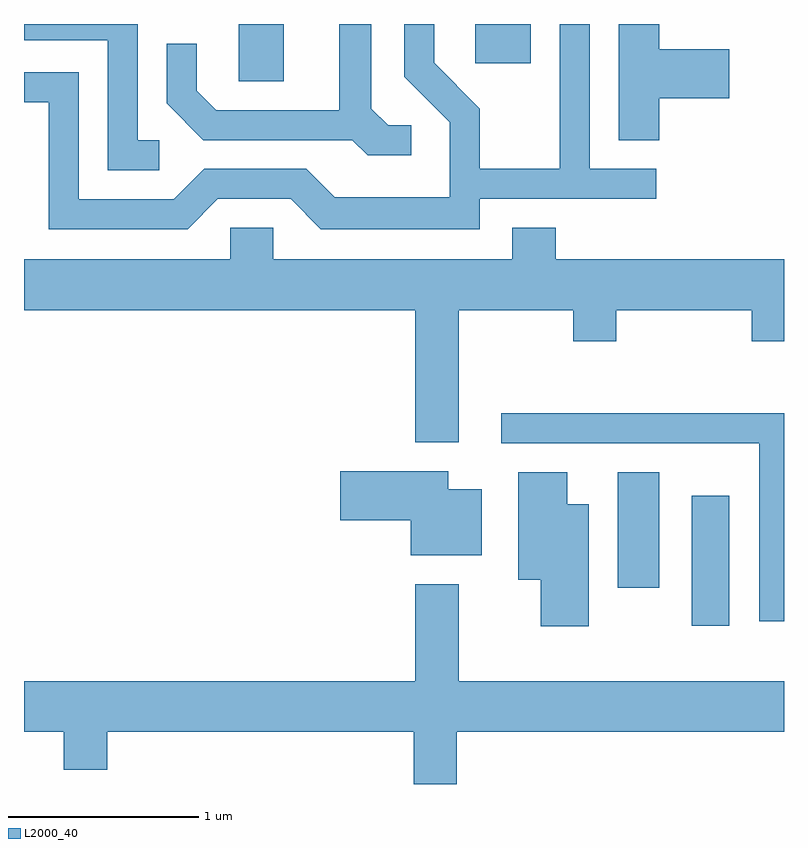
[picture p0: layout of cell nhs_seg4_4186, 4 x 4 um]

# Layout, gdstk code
import gdstk
lib = gdstk.Library(unit=1e-6, precision=1e-09)
def R(c, l, rs):  # rectangles x0, y0, x1, y1
    for r in rs: c.add(gdstk.rectangle(r[:2], r[2:], *l))
def P(c, l, *ps):  # polygons
    for p in ps: c.add(gdstk.Polygon(p, *l))
L2000_40 = (2000, 40)

nhs_seg4_4186 = lib.new_cell('nhs_seg4_4186')
R(nhs_seg4_4186, L2000_40, [(311.126,1330.816,311.324,1331.499), (310.736,1331.016,310.954,1331.624), (308.741,1333.681,308.979,1333.982), (309.986,1333.776,310.279,1333.982)])
P(nhs_seg4_4186, L2000_40, [(308.632,1333.061),(309.014,1333.061),(309.174,1332.901),(310.009,1332.901),(310.009,1333.061),(310.938,1333.061),(310.938,1333.219),(310.589,1333.219),(310.589,1333.982),(310.431,1333.982),(310.431,1333.219),(310.009,1333.219),(310.009,1333.537),(309.769,1333.777),(309.769,1333.982),(309.611,1333.982),(309.611,1333.704),(309.851,1333.464),(309.851,1333.069),(309.247,1333.069),(309.097,1333.219),(308.559,1333.219),(308.399,1333.059),(307.899,1333.059),(307.899,1333.729),(307.611,1333.729),(307.611,1333.571),(307.741,1333.571),(307.741,1332.901),(308.472,1332.901)],
  [(308.323,1333.369),(308.209,1333.369),(308.209,1333.982),(307.611,1333.982),(307.611,1333.896),(308.051,1333.896),(308.051,1333.211),(308.323,1333.211)],
  [(310.954,1333.591),(311.324,1333.591),(311.324,1333.849),(310.954,1333.849),(310.954,1333.982),(310.741,1333.982),(310.741,1333.371),(310.954,1333.371)],
  [(309.648,1333.449),(309.527,1333.449),(309.439,1333.537),(309.439,1333.982),(309.271,1333.982),(309.271,1333.529),(308.622,1333.529),(308.519,1333.632),(308.519,1333.878),(308.361,1333.878),(308.361,1333.564),(308.554,1333.371),(309.339,1333.371),(309.419,1333.291),(309.648,1333.291)],
  [(309.899,1332.476),(310.501,1332.476),(310.501,1332.311),(310.729,1332.311),(310.729,1332.476),(311.441,1332.476),(311.441,1332.311),(311.611,1332.311),(311.611,1332.744),(310.409,1332.744),(310.409,1332.909),(310.181,1332.909),(310.181,1332.744),(308.924,1332.744),(308.924,1332.909),(308.696,1332.909),(308.696,1332.744),(307.611,1332.744),(307.611,1332.476),(309.671,1332.476),(309.671,1331.781),(309.899,1331.781)],
  [(311.611,1331.934),(310.123,1331.934),(310.123,1331.776),(311.481,1331.776),(311.481,1330.838),(311.611,1330.838)],
  [(310.019,1331.534),(309.844,1331.534),(309.844,1331.629),(309.276,1331.629),(309.276,1331.371),(309.646,1331.371),(309.646,1331.186),(310.019,1331.186)],
  [(310.584,1331.454),(310.469,1331.454),(310.469,1331.624),(310.211,1331.624),(310.211,1331.056),(310.331,1331.056),(310.331,1330.811),(310.584,1330.811)],
  [(309.889,1330.256),(311.611,1330.256),(311.611,1330.524),(309.899,1330.524),(309.899,1331.034),(309.671,1331.034),(309.671,1330.524),(307.611,1330.524),(307.611,1330.256),(307.821,1330.256),(307.821,1330.056),(308.049,1330.056),(308.049,1330.256),(309.661,1330.256),(309.661,1329.982),(309.889,1329.982)])

lib.write_gds('nhs_seg4_4186.gds')
